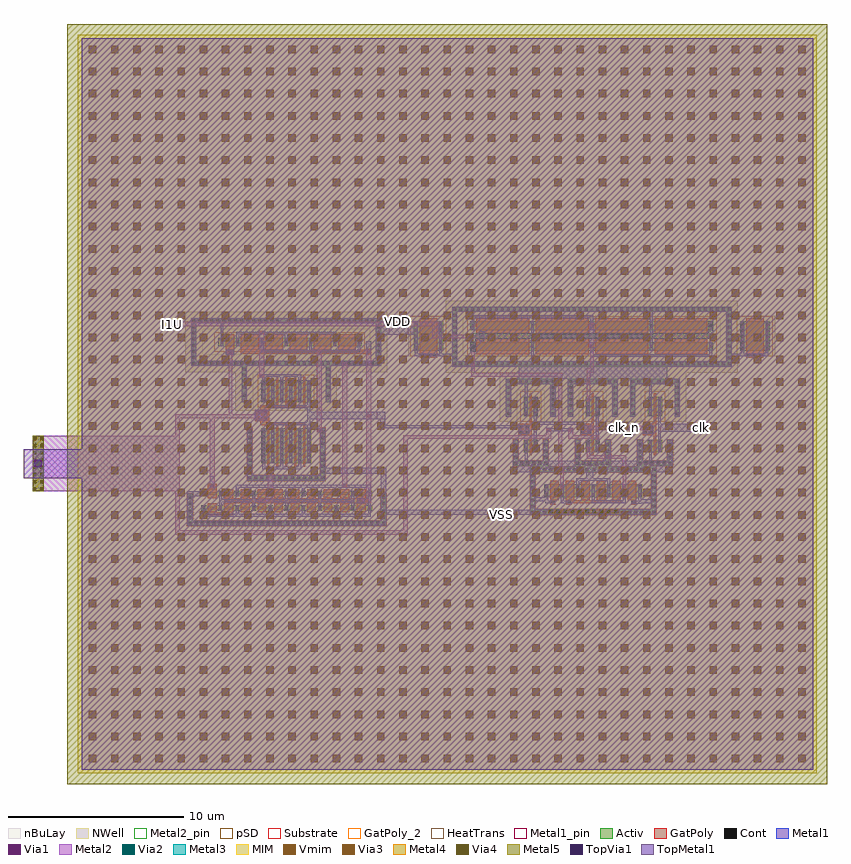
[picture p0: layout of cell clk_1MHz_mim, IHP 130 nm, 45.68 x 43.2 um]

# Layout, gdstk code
from math import pi, radians
import gdstk
lib = gdstk.Library(unit=1e-6, precision=1e-09)
def R(c, l, rs):  # rectangles x0, y0, x1, y1
    for r in rs: c.add(gdstk.rectangle(r[:2], r[2:], *l))
def A(c, l, x, y, w, h, nx, ny, dx, dy):  # array of equal rectangles
    R(c, l, [(x+i*dx, y+j*dy, x+i*dx+w, y+j*dy+h) for i in range(nx) for j in range(ny)])
def P(c, l, *ps):  # polygons
    for p in ps: c.add(gdstk.Polygon(p, *l))
Activ = (1, 0)
GatPoly = (5, 0)
GatPoly_2 = (5, 2)
Cont = (6, 0)
Metal1 = (8, 0)
Metal1_pin = (8, 2)
Metal2 = (10, 0)
Metal2_pin = (10, 2)
pSD = (14, 0)
Via1 = (19, 0)
Via2 = (29, 0)
Metal3 = (30, 0)
NWell = (31, 0)
nBuLay = (32, 0)
MIM = (36, 0)
Substrate = (40, 0)
Via3 = (49, 0)
Metal4 = (50, 0)
HeatTrans = (51, 0)
Via4 = (66, 0)
Metal5 = (67, 0)
TopVia1 = (125, 0)
TopMetal1 = (126, 0)
Vmim = (129, 0)

via_stack_12 = lib.new_cell('via_stack$12')
R(via_stack_12, Metal1, [(-0.145,-0.105,0.145,0.105)])
R(via_stack_12, Metal2, [(-0.145,-0.1,0.145,0.1)])
R(via_stack_12, Via1, [(-0.095,-0.095,0.095,0.095)])
R(via_stack_12, Via2, [(-0.095,-0.095,0.095,0.095)])
R(via_stack_12, Metal3, [(-0.145,-0.1,0.145,0.1)])

pmos_2 = lib.new_cell('pmos$2')
R(pmos_2, Activ, [(0,0,0.3,0.3), (0,0,1.68,1.68), (1.38,0,1.68,0.3)])
R(pmos_2, GatPoly, [(0.34,-0.18,1.34,1.86), (0.34,-0.18,1.34,1.86)])
A(pmos_2, Cont, 0.07, 0.07, 0.16, 0.16, 1, 5, 0, 0.345)
A(pmos_2, Cont, 1.45, 0.07, 0.16, 0.16, 1, 5, 0, 0.345)
R(pmos_2, Metal1, [(0.07,0,0.23,1.68), (0.07,0,0.23,1.68), (1.45,0,1.61,1.68), (1.45,0,1.61,1.68)])
R(pmos_2, pSD, [(-0.18,-0.3,1.86,1.98)])
R(pmos_2, NWell, [(-0.31,-0.31,1.99,1.99)])
R(pmos_2, Substrate, [(1.38,0,1.68,0.3)])
R(pmos_2, HeatTrans, [(0.34,-0.18,1.34,1.86)])
pmos_2.add(gdstk.Label('pmos', (0.84,0.84), layer=63, texttype=0))
pmos_2.add(gdstk.Label('pmos', (0.84,0.84), layer=51, texttype=0))

via_stack_6 = lib.new_cell('via_stack$6')
R(via_stack_6, GatPoly, [(-0.15,-0.49,0.15,0.49)])
A(via_stack_6, Cont, -0.08, -0.42, 0.16, 0.16, 1, 3, 0, 0.34)
R(via_stack_6, Metal1, [(-0.08,-0.47,0.08,0.47)])

via_stack_5 = lib.new_cell('via_stack$5')
R(via_stack_5, GatPoly, [(-0.15,-0.15,0.15,0.15)])
R(via_stack_5, Cont, [(-0.08,-0.08,0.08,0.08)])
R(via_stack_5, Metal1, [(-0.145,-0.105,0.145,0.105)])
R(via_stack_5, Metal2, [(-0.145,-0.1,0.145,0.1)])
R(via_stack_5, Via1, [(-0.095,-0.095,0.095,0.095)])

guard_ring = lib.new_cell('guard_ring')
R(guard_ring, Activ, [(-7.95,-1.4,-7.65,1.4), (7.65,-1.4,7.95,1.4), (-7.95,1.4,7.95,1.7)])
P(guard_ring, Activ, [(-7.95,-1.7),(-7.95,1.4),(-7.65,1.4),(-7.65,-1.4),(7.65,-1.4),(7.65,1.4),(-7.95,1.4),(-7.95,1.7),(7.95,1.7),(7.95,-1.7)])
A(guard_ring, Cont, -7.88, -1.63, 0.16, 0.16, 23, 2, 0.34, 3.1)
A(guard_ring, Cont, 0.24, -1.63, 0.16, 0.16, 23, 2, 0.34, 3.1)
A(guard_ring, Cont, -7.88, -1.29, 0.16, 0.16, 1, 4, 0, 0.34)
A(guard_ring, Cont, 7.72, -1.29, 0.16, 0.16, 1, 4, 0, 0.34)
A(guard_ring, Cont, -7.88, 0.11, 0.16, 0.16, 1, 4, 0, 0.34)
A(guard_ring, Cont, 7.72, 0.11, 0.16, 0.16, 1, 4, 0, 0.34)
R(guard_ring, Metal1, [(-7.95,-1.7,7.95,-1.4), (-7.95,-1.4,-7.65,1.4), (7.65,-1.4,7.95,1.4), (-7.95,1.4,7.95,1.7)])
R(guard_ring, NWell, [(-8.3,-2.05,8.3,2.05)])
R(guard_ring, nBuLay, [(-8.3,-1.05,-7.3,1.05), (7.3,-1.05,8.3,1.05), (-8.3,1.05,8.3,2.05)])
P(guard_ring, nBuLay, [(-8.3,-2.05),(-8.3,1.05),(-7.3,1.05),(-7.3,-1.05),(7.3,-1.05),(7.3,1.05),(-8.3,1.05),(-8.3,2.05),(8.3,2.05),(8.3,-2.05)])
guard_ring.add(gdstk.Label('well', (0,-1.55), layer=63, texttype=0))

pmos_3 = lib.new_cell('pmos$3')
A(pmos_3, Activ, 0, 0, 0.3, 0.3, 5, 1, 3.38, 0)
R(pmos_3, Activ, [(0,0,13.82,0.5)])
A(pmos_3, GatPoly, 0.34, -0.18, 3, 0.86, 4, 1, 3.38, 0)
R(pmos_3, GatPoly, [(0.34,-0.18,3.34,0.68)])
A(pmos_3, Cont, 0.07, 0.17, 0.16, 0.16, 5, 1, 3.38, 0)
A(pmos_3, Metal1, 3.45, 0, 0.16, 0.5, 4, 1, 3.38, 0)
R(pmos_3, Metal1, [(0.07,0,0.23,0.5), (0.07,0,0.23,0.5), (3.45,0,3.61,0.5)])
R(pmos_3, pSD, [(-0.18,-0.3,14,0.8)])
R(pmos_3, NWell, [(-0.31,-0.31,14.13,0.81)])
R(pmos_3, Substrate, [(13.52,0,13.82,0.3)])
A(pmos_3, HeatTrans, 0.34, -0.18, 3, 0.86, 4, 1, 3.38, 0)
pmos_3.add(gdstk.Label('pmos', (1.84,0.25), layer=63, texttype=0))
pmos_3.add(gdstk.Label('pmos', (1.84,0.25), layer=51, texttype=0))
pmos_3.add(gdstk.Label('pmos', (5.22,0.25), layer=51, texttype=0))
pmos_3.add(gdstk.Label('pmos', (8.6,0.25), layer=51, texttype=0))
pmos_3.add(gdstk.Label('pmos', (11.98,0.25), layer=51, texttype=0))

via_stack_4 = lib.new_cell('via_stack$4')
R(via_stack_4, Metal1, [(-0.145,-0.105,0.145,0.105)])
R(via_stack_4, Metal2, [(-0.145,-0.1,0.145,0.1)])
R(via_stack_4, Via1, [(-0.095,-0.095,0.095,0.095)])

ring_mirror_p_1_1 = lib.new_cell('ring_mirror_p$1$1')
R(ring_mirror_p_1_1, GatPoly, [(-7.805,-0.62,5.335,-0.3)])
R(ring_mirror_p_1_1, Metal1, [(-4.695,-1.985,-4.535,-1.3), (-1.315,-1.64,5.605,-1.48), (-11.3,-1.61,-8.955,-1.445), (6.455,-1.61,8.8,-1.445), (-11.3,-1.575,-11.14,-1.3), (-9.92,-1.575,-9.76,-1.3), (7.26,-1.575,7.42,-1.3), (8.64,-1.575,8.8,-1.3), (-1.315,-1.48,-1.155,-0.875), (5.445,-1.48,5.605,-0.875), (-8.135,-1.345,-7.85,-0.79), (-4.695,-0.8,-4.535,-0.12), (2.065,-0.8,2.225,-0.12), (-7.63,-0.74,-7.345,-0.185), (-4.695,-0.565,2.225,-0.355), (5.39,-0.125,5.675,0.43), (-8.075,-0.045,-7.915,0.56), (-1.315,-0.045,-1.155,0.56), (2.065,0.38,2.225,0.965), (-8.075,0.56,-1.155,0.72)])
R(ring_mirror_p_1_1, Metal1_pin, [(-3.955,0.915,-2.815,1.215)])
R(ring_mirror_p_1_1, Metal2, [(-8.09,-2.535,-7.89,-0.95), (-1.34,-2.535,-1.14,-0.93), (-1.38,-1.105,-1.09,0.305), (5.39,-0.585,5.675,0.43), (-10.315,-0.565,-7.345,-0.365)])
R(ring_mirror_p_1_1, Metal2_pin, [(-8.075,-2.525,-7.9,-2.18), (-1.305,-2.505,-1.145,-2.16), (-10.315,-0.565,-10.08,-0.365)])
R(ring_mirror_p_1_1, pSD, [(-8.325,-0.5,5.855,-0.42)])
R(ring_mirror_p_1_1, Metal3, [(-8.115,-1.345,-7.85,-0.305), (-8.115,-0.62,5.675,-0.305), (5.39,-0.62,5.675,0.43)])
ring_mirror_p_1_1.add(gdstk.Reference(via_stack_12, (5.53,0.15)))
ring_mirror_p_1_1.add(gdstk.Reference(via_stack_12, (-7.995,-1.07)))
ring_mirror_p_1_1.add(gdstk.Reference(pmos_2, (7.19,-1.3)))
ring_mirror_p_1_1.add(gdstk.Reference(via_stack_6, (8.02,-1.525), rotation=pi/2))
ring_mirror_p_1_1.add(gdstk.Reference(via_stack_5, (-7.49,-0.465)))
ring_mirror_p_1_1.add(gdstk.Reference(pmos_2, (-9.69,-1.3), rotation=pi, x_reflection=True))
ring_mirror_p_1_1.add(gdstk.Reference(via_stack_6, (-10.52,-1.525), rotation=pi/2, x_reflection=True))
ring_mirror_p_1_1.add(gdstk.Reference(guard_ring, (-1.235,-0.485)))
ring_mirror_p_1_1.add(gdstk.Reference(pmos_3, (5.675,-0.8), rotation=pi))
ring_mirror_p_1_1.add(gdstk.Reference(pmos_3, (5.675,0.38), rotation=pi))
ring_mirror_p_1_1.add(gdstk.Reference(via_stack_4, (-1.235,0.205)))
ring_mirror_p_1_1.add(gdstk.Reference(via_stack_4, (-1.235,-1.005)))
ring_mirror_p_1_1.add(gdstk.Label('VDD', (-3.385,1.215), layer=8, texttype=2))
ring_mirror_p_1_1.add(gdstk.Label('i1u', (-10.21,-0.48), layer=10, texttype=2))
ring_mirror_p_1_1.add(gdstk.Label('DRR', (-8.055,-2.405), layer=10, texttype=2))
ring_mirror_p_1_1.add(gdstk.Label('DRM', (-1.265,-2.36), layer=10, texttype=2))

via_stack_1 = lib.new_cell('via_stack$1')
R(via_stack_1, GatPoly, [(-0.32,-0.32,0.32,0.32)])
R(via_stack_1, Cont, [(-0.25,-0.25,-0.09,-0.09), (0.09,-0.25,0.25,-0.09), (-0.25,0.09,-0.09,0.25), (0.09,0.09,0.25,0.25)])
R(via_stack_1, Metal1, [(-0.3,-0.25,0.3,0.25)])

ring_inv_1_1 = lib.new_cell('ring_inv$1$1')
R(ring_inv_1_1, Activ, [(-0.45,-2.005,-0.15,-1.705), (-0.45,-2.005,0.36,-1.305), (0.06,-2.005,0.36,-1.705), (-1.46,0,-1.16,1.86), (1.07,0,1.37,1.86), (-0.45,0.03,-0.15,0.33), (-0.45,0.03,0.36,1.15), (0.06,0.03,0.36,0.33), (-1.46,1.86,1.37,2.16)])
P(ring_inv_1_1, Activ, [(-1.05,-2.785),(-1.05,-1.305),(-0.75,-1.305),(-0.75,-2.485),(0.66,-2.485),(0.66,-1.305),(0.96,-1.305),(0.96,-2.785)])
R(ring_inv_1_1, GatPoly, [(-0.11,-2.185,0.02,-1.125), (-0.11,-1.125,0.02,-0.15), (-0.11,-0.15,0.02,1.33), (-0.11,-0.15,0.02,1.33)])
R(ring_inv_1_1, GatPoly_2, [(-0.11,-2.185,0.02,-1.125)])
A(ring_inv_1_1, Cont, -0.98, -2.715, 0.16, 0.16, 3, 1, 0.34, 0)
A(ring_inv_1_1, Cont, 0.05, -2.715, 0.16, 0.16, 3, 1, 0.34, 0)
A(ring_inv_1_1, Cont, -0.38, 0.1, 0.16, 0.16, 1, 3, 0, 0.41)
A(ring_inv_1_1, Cont, 0.13, 0.1, 0.16, 0.16, 1, 3, 0, 0.41)
A(ring_inv_1_1, Cont, -1.39, 0.57, 0.16, 0.16, 1, 4, 0, 0.34)
A(ring_inv_1_1, Cont, 1.14, 0.57, 0.16, 0.16, 1, 4, 0, 0.34)
A(ring_inv_1_1, Cont, -1.39, 1.93, 0.16, 0.16, 4, 1, 0.34, 0)
A(ring_inv_1_1, Cont, 0.12, 1.93, 0.16, 0.16, 4, 1, 0.34, 0)
R(ring_inv_1_1, Cont, [(-0.98,-2.375,-0.82,-2.215), (0.73,-2.375,0.89,-2.215), (-0.98,-2.035,-0.82,-1.875), (0.73,-2.035,0.89,-1.875), (-0.38,-1.935,-0.22,-1.775), (0.13,-1.935,0.29,-1.775), (0.73,-1.675,0.89,-1.515), (-0.98,-1.67,-0.82,-1.51), (-0.38,-1.535,-0.22,-1.375), (0.13,-1.535,0.29,-1.375), (-1.39,0.11,-1.23,0.27), (1.14,0.11,1.3,0.27)])
R(ring_inv_1_1, Metal1, [(-1.05,-2.785,0.96,-2.485), (-1.05,-2.485,-0.75,-1.305), (0.66,-2.485,0.96,-1.305), (-0.38,-2.005,-0.22,-1.305), (0.13,-2.005,0.29,-1.305), (0.13,-1.305,0.29,0.03), (-1.46,0,-1.16,1.86), (1.07,0,1.37,1.86), (-0.38,0.03,-0.22,1.15), (-0.38,0.03,-0.22,1.15), (0.13,0.03,0.29,1.15), (0.13,0.03,0.29,1.15), (-1.46,1.86,1.37,2.16)])
R(ring_inv_1_1, Metal1_pin, [(-0.38,-2.785,0.23,-2.485), (-0.38,-2.005,-0.22,-1.305), (0.13,-2.005,0.29,-1.305), (0.13,-0.84,0.29,-0.565), (-0.73,-0.815,-0.52,-0.625), (-0.505,1.86,0.29,2.16)])
R(ring_inv_1_1, pSD, [(-0.63,-0.27,0.54,1.45)])
P(ring_inv_1_1, pSD, [(-1.08,-2.815),(-1.08,-1.275),(-0.72,-1.275),(-0.72,-2.455),(0.63,-2.455),(0.63,-1.275),(0.99,-1.275),(0.99,-2.815)])
R(ring_inv_1_1, NWell, [(-1.81,-0.28,1.72,2.51), (-0.76,-0.28,0.67,1.46)])
R(ring_inv_1_1, nBuLay, [(-1.81,-0.28,-0.81,1.51), (0.72,-0.28,1.72,1.51), (-1.81,1.51,1.72,2.51)])
R(ring_inv_1_1, Substrate, [(-1.08,-2.815,0.99,-2.455), (-1.08,-2.455,-0.72,-1.305), (0.63,-2.455,0.99,-1.305), (0.06,0.03,0.36,0.33)])
R(ring_inv_1_1, HeatTrans, [(-0.11,-2.185,0.02,-1.125), (-0.11,-0.15,0.02,1.33)])
ring_inv_1_1.add(gdstk.Reference(via_stack_1, (-0.43,-0.725)))
ring_inv_1_1.add(gdstk.Label('pmos', (-0.045,0.59), layer=63, texttype=0))
ring_inv_1_1.add(gdstk.Label('nmos', (-0.045,-1.655), layer=63, texttype=0))
ring_inv_1_1.add(gdstk.Label('sub!', (-0.045,-2.635), layer=63, texttype=0))
ring_inv_1_1.add(gdstk.Label('pmos', (-0.045,0.59), layer=51, texttype=0))
ring_inv_1_1.add(gdstk.Label('nmos', (-0.045,-1.655), layer=51, texttype=0))
ring_inv_1_1.add(gdstk.Label('VDD', (-0.108,2.16), layer=8, texttype=2))
ring_inv_1_1.add(gdstk.Label('VSS', (-0.075,-2.785), layer=8, texttype=2))
ring_inv_1_1.add(gdstk.Label('Y', (0.29,-0.703), layer=8, texttype=2))
ring_inv_1_1.add(gdstk.Label('A', (-0.73,-0.705), layer=8, texttype=2))

nmos_5 = lib.new_cell('nmos$5')
A(nmos_5, Activ, 0, 0, 0.3, 0.3, 7, 1, 0.88, 0)
R(nmos_5, Activ, [(-0.8,-0.68,-0.5,1.43), (6.08,-0.68,6.38,1.43), (0,0,5.58,0.75), (-0.8,1.43,6.38,1.73)])
P(nmos_5, Activ, [(-0.8,-0.98),(-0.8,1.43),(-0.5,1.43),(-0.5,-0.68),(6.08,-0.68),(6.08,1.43),(-0.8,1.43),(-0.8,1.73),(6.38,1.73),(6.38,-0.98)])
A(nmos_5, GatPoly, 0.34, -0.18, 0.5, 1.11, 6, 1, 0.88, 0)
R(nmos_5, GatPoly_2, [(0.34,-0.18,0.84,0.93)])
A(nmos_5, Cont, -0.73, -0.91, 0.16, 0.16, 10, 2, 0.34, 2.41)
A(nmos_5, Cont, 2.75, -0.91, 0.16, 0.16, 11, 2, 0.34, 2.41)
A(nmos_5, Cont, -0.73, -0.57, 0.16, 0.16, 1, 3, 0, 0.34)
A(nmos_5, Cont, 6.15, -0.57, 0.16, 0.16, 1, 3, 0, 0.34)
A(nmos_5, Cont, 0.07, 0.07, 0.16, 0.16, 7, 2, 0.88, 0.45)
A(nmos_5, Cont, -0.73, 0.48, 0.16, 0.16, 1, 3, 0, 0.34)
A(nmos_5, Cont, 6.15, 0.48, 0.16, 0.16, 1, 3, 0, 0.34)
A(nmos_5, Metal1, 0.07, 0, 0.16, 0.75, 7, 1, 0.88, 0)
R(nmos_5, Metal1, [(-0.8,-0.98,6.38,-0.68), (-0.8,-0.68,-0.5,1.43), (6.08,-0.68,6.38,1.43), (-0.8,1.43,6.38,1.73)])
R(nmos_5, Metal1_pin, [(0.07,0,0.23,0.75), (0.95,0,1.11,0.75)])
R(nmos_5, pSD, [(-0.83,-0.65,-0.47,1.4), (6.05,-0.65,6.41,1.4), (-0.83,1.4,6.41,1.76)])
P(nmos_5, pSD, [(-0.83,-1.01),(-0.83,1.4),(-0.47,1.4),(-0.47,-0.65),(6.05,-0.65),(6.05,1.4),(-0.83,1.4),(-0.83,1.76),(6.41,1.76),(6.41,-1.01)])
R(nmos_5, Substrate, [(-0.83,-0.65,-0.47,1.4), (6.05,-0.65,6.41,1.4), (-0.83,1.4,6.41,1.76)])
P(nmos_5, Substrate, [(-0.83,-1.01),(-0.83,1.4),(-0.47,1.4),(-0.47,-0.65),(6.05,-0.65),(6.05,1.4),(-0.83,1.4),(-0.83,1.76),(6.41,1.76),(6.41,-1.01)])
A(nmos_5, HeatTrans, 0.34, -0.18, 0.5, 1.11, 6, 1, 0.88, 0)
nmos_5.add(gdstk.Label('nmos', (0.59,0.375), layer=63, texttype=0))
nmos_5.add(gdstk.Label('sub!', (2.79,-0.83), layer=63, texttype=0))
nmos_5.add(gdstk.Label('nmos', (0.59,0.375), layer=51, texttype=0))
nmos_5.add(gdstk.Label('nmos', (1.47,0.375), layer=51, texttype=0))
nmos_5.add(gdstk.Label('nmos', (2.35,0.375), layer=51, texttype=0))
nmos_5.add(gdstk.Label('nmos', (3.23,0.375), layer=51, texttype=0))
nmos_5.add(gdstk.Label('nmos', (4.11,0.375), layer=51, texttype=0))
nmos_5.add(gdstk.Label('nmos', (4.99,0.375), layer=51, texttype=0))

via_stack_9 = lib.new_cell('via_stack$9')
R(via_stack_9, GatPoly, [(-0.15,-0.15,0.15,0.15)])
R(via_stack_9, Cont, [(-0.08,-0.08,0.08,0.08)])
R(via_stack_9, Metal1, [(-0.13,-0.08,0.13,0.08)])

ring_mirror_n2_1_1 = lib.new_cell('ring_mirror_n2$1$1')
R(ring_mirror_n2_1_1, GatPoly, [(-1.565,-4.565,1.575,-4.405)])
R(ring_mirror_n2_1_1, Metal1, [(2.205,-4.585,2.725,-4.425), (2.565,-4.585,2.725,-4.085), (-2.715,-4.575,-2.195,-4.415), (-2.715,-4.575,-2.555,-4.075), (-1.835,-4.575,-1.675,-4.225), (-1.835,-4.575,-1.505,-4.415), (-0.075,-4.565,1.845,-4.405), (-0.075,-4.565,0.085,-4.225), (1.685,-4.565,1.845,-4.225), (2.565,-4.56,3.595,-4.335), (-3.515,-4.455,-2.555,-4.225), (-0.955,-3.475,-0.795,-3.135), (0.805,-3.475,0.965,-3.135), (-0.955,-3.295,0.965,-3.135), (-0.4,-3.135,0.005,-2.495)])
R(ring_mirror_n2_1_1, Metal2, [(1.67,-3.485,1.87,-2.465), (-1.86,-3.475,-1.66,-2.465)])
ring_mirror_n2_1_1.add(gdstk.Reference(nmos_5, (-2.785,-4.225)))
ring_mirror_n2_1_1.add(gdstk.Reference(via_stack_9, (-1.375,-4.495)))
ring_mirror_n2_1_1.add(gdstk.Reference(via_stack_9, (-2.295,-4.495)))
ring_mirror_n2_1_1.add(gdstk.Reference(via_stack_9, (2.305,-4.505), rotation=pi, x_reflection=True))
ring_mirror_n2_1_1.add(gdstk.Reference(via_stack_4, (-1.76,-3.62), rotation=pi/2))
ring_mirror_n2_1_1.add(gdstk.Reference(via_stack_4, (1.77,-3.63), rotation=pi/2))

ring_mrr_inv_1_1 = lib.new_cell('ring_mrr_inv$1$1')
R(ring_mrr_inv_1_1, Activ, [(-0.875,-2.545,1.135,-2.48), (-3.435,-2.54,-2.395,-2.48), (2.655,-2.54,3.745,-2.48)])
R(ring_mrr_inv_1_1, Metal1, [(-4.435,-2.845,4.665,-2.185), (-4.09,2.46,4.35,3.465)])
R(ring_mrr_inv_1_1, Metal2, [(1.815,-2.985,2.02,-2.085), (-1.835,-2.84,-1.62,2.815), (-0.225,-2.085,-0.025,-1.69), (-0.025,-2.085,2.02,-1.88), (-0.225,1.16,-0.025,3.07), (-6.78,2.595,-1.62,2.815)])
ring_mrr_inv_1_1.add(gdstk.Reference(ring_mirror_p_1_1, (1.31,5.35)))
ring_mrr_inv_1_1.add(gdstk.Reference(ring_inv_1_1, (0.175,0.305)))
ring_mrr_inv_1_1.add(gdstk.Reference(ring_inv_1_1, (-3.355,0.305)))
ring_mrr_inv_1_1.add(gdstk.Reference(ring_inv_1_1, (3.705,0.305)))
ring_mrr_inv_1_1.add(gdstk.Reference(via_stack_4, (-0.125,1.305), rotation=pi/2))
ring_mrr_inv_1_1.add(gdstk.Reference(via_stack_4, (-0.125,-1.545), rotation=pi/2))
ring_mrr_inv_1_1.add(gdstk.Reference(ring_mirror_n2_1_1, (0.15,-0.045)))

via_stack = lib.new_cell('via_stack')
R(via_stack, GatPoly, [(-0.32,-0.32,0.32,0.32)])
R(via_stack, Cont, [(-0.25,-0.25,-0.09,-0.09), (0.09,-0.25,0.25,-0.09), (-0.25,0.09,-0.09,0.25), (0.09,0.09,0.25,0.25)])
R(via_stack, Metal1, [(-0.35,-0.31,0.35,0.31)])
R(via_stack, Metal2, [(-0.35,-0.305,0.35,0.305)])
R(via_stack, Via1, [(-0.3,-0.3,-0.11,-0.11), (0.11,-0.3,0.3,-0.11), (-0.3,0.11,-0.11,0.3), (0.11,0.11,0.3,0.3)])

nmos_3 = lib.new_cell('nmos$3')
A(nmos_3, Activ, 0, 0, 0.3, 0.3, 11, 1, 0.94, 0)
R(nmos_3, Activ, [(0,0.07,9.7,0.225)])
A(nmos_3, GatPoly, 0.37, -0.11, 0.5, 0.515, 10, 1, 0.94, 0)
R(nmos_3, GatPoly_2, [(0.37,-0.11,0.87,0.405)])
A(nmos_3, Metal1, 0.07, 0.015, 0.16, 0.26, 11, 1, 0.94, 0)
R(nmos_3, Metal1_pin, [(0.07,0.015,0.23,0.275), (1.01,0.015,1.17,0.275)])
A(nmos_3, HeatTrans, 0.37, -0.11, 0.5, 0.515, 10, 1, 0.94, 0)
nmos_3.add(gdstk.Label('nmos', (0.62,0.148), layer=63, texttype=0))
nmos_3.add(gdstk.Label('nmos', (0.62,0.148), layer=51, texttype=0))
nmos_3.add(gdstk.Label('nmos', (1.56,0.148), layer=51, texttype=0))
nmos_3.add(gdstk.Label('nmos', (2.5,0.148), layer=51, texttype=0))
nmos_3.add(gdstk.Label('nmos', (3.44,0.148), layer=51, texttype=0))
nmos_3.add(gdstk.Label('nmos', (4.38,0.148), layer=51, texttype=0))
nmos_3.add(gdstk.Label('nmos', (5.32,0.148), layer=51, texttype=0))
nmos_3.add(gdstk.Label('nmos', (6.26,0.148), layer=51, texttype=0))
nmos_3.add(gdstk.Label('nmos', (7.2,0.148), layer=51, texttype=0))
nmos_3.add(gdstk.Label('nmos', (8.14,0.148), layer=51, texttype=0))
nmos_3.add(gdstk.Label('nmos', (9.08,0.148), layer=51, texttype=0))

ring_schmitt_1_1 = lib.new_cell('ring_schmitt$1$1')
A(ring_schmitt_1_1, Activ, -3.855, -3.525, 0.3, 0.3, 11, 1, 0.94, 0)
A(ring_schmitt_1_1, Activ, -0.46, -0.85, 0.3, 0.3, 6, 2, 0.51, 3.485)
A(ring_schmitt_1_1, Activ, -1.945, 5.805, 0.3, 0.3, 6, 1, 1.38, 0)
R(ring_schmitt_1_1, Activ, [(-4.655,-4.395,6.645,-4.095), (-4.655,-4.095,-4.355,-2.58), (6.345,-4.095,6.645,-2.58), (-3.855,-3.455,5.845,-3.3), (-1.26,-1.83,3.19,-1.53), (-1.26,-1.53,-0.96,1.15), (2.89,-1.53,3.19,1.15), (-0.46,-0.85,2.39,1.15), (-1.57,2.635,-1.27,4.695), (-0.46,2.635,2.39,3.885), (3.2,2.635,3.5,4.695), (-1.57,4.695,3.5,4.995), (-4.435,4.995,-4.135,7.115), (6.065,4.995,6.365,7.115), (-2.885,5.805,5.255,6.305), (-2.83,5.805,-2.53,6.105), (-4.435,7.115,6.365,7.415)])
P(ring_schmitt_1_1, Activ, [(-4.435,4.695),(-4.435,7.115),(-4.135,7.115),(-4.135,4.995),(6.065,4.995),(6.065,7.115),(-4.435,7.115),(-4.435,7.415),(6.365,7.415),(6.365,4.695)])
A(ring_schmitt_1_1, GatPoly, -3.485, -3.635, 0.5, 0.515, 10, 1, 0.94, 0)
A(ring_schmitt_1_1, GatPoly, -0.12, -1.03, 0.13, 2.36, 5, 1, 0.51, 0)
A(ring_schmitt_1_1, GatPoly, -0.12, 2.455, 0.13, 1.61, 5, 1, 0.51, 0)
A(ring_schmitt_1_1, GatPoly, -1.605, 5.625, 1, 0.86, 5, 1, 1.38, 0)
R(ring_schmitt_1_1, GatPoly, [(-3.485,-3.785,-2.045,-3.635), (-2.545,-3.12,5.615,-2.82), (-3.485,-2.305,-2.985,-2.005), (-0.505,1.33,2.05,1.46), (-0.505,1.33,0.01,2.455), (-0.505,2.325,2.05,2.455), (1.92,2.455,2.05,4.065), (-2.485,5.325,-1.985,5.625), (-1.605,5.4,5.8,5.625), (-2.485,5.625,-1.985,6.485), (-2.485,5.625,-1.985,6.485)])
R(ring_schmitt_1_1, GatPoly_2, [(-3.485,-3.635,-2.985,-3.12), (1.92,-1.03,2.05,1.33)])
A(ring_schmitt_1_1, Cont, -4.585, -4.325, 0.16, 0.16, 16, 1, 0.34, 0)
A(ring_schmitt_1_1, Cont, 0.975, -4.325, 0.16, 0.16, 17, 1, 0.34, 0)
A(ring_schmitt_1_1, Cont, -3.785, -3.455, 0.16, 0.16, 11, 2, 0.94, 0.815)
A(ring_schmitt_1_1, Cont, -1.19, -1.76, 0.16, 0.16, 7, 1, 0.34, 0)
A(ring_schmitt_1_1, Cont, 1.26, -1.76, 0.16, 0.16, 6, 1, 0.34, 0)
A(ring_schmitt_1_1, Cont, -1.19, -1.42, 0.16, 0.16, 1, 4, 0, 0.34)
A(ring_schmitt_1_1, Cont, 2.96, -1.42, 0.16, 0.16, 1, 4, 0, 0.34)
A(ring_schmitt_1_1, Cont, -0.39, -0.78, 0.16, 0.16, 6, 6, 0.51, 0.34)
A(ring_schmitt_1_1, Cont, -1.19, 0.2, 0.16, 0.16, 1, 3, 0, 0.34)
A(ring_schmitt_1_1, Cont, 2.96, 0.2, 0.16, 0.16, 1, 3, 0, 0.34)
A(ring_schmitt_1_1, Cont, -0.39, 2.705, 0.16, 0.16, 6, 3, 0.51, 0.475)
A(ring_schmitt_1_1, Cont, -1.5, 3.405, 0.16, 0.16, 1, 4, 0, 0.34)
A(ring_schmitt_1_1, Cont, 3.27, 3.405, 0.16, 0.16, 1, 4, 0, 0.34)
A(ring_schmitt_1_1, Cont, -4.365, 4.765, 0.16, 0.16, 15, 2, 0.34, 2.42)
A(ring_schmitt_1_1, Cont, 1.23, 4.765, 0.16, 0.16, 7, 1, 0.34, 0)
A(ring_schmitt_1_1, Cont, 3.755, 4.765, 0.16, 0.16, 8, 1, 0.34, 0)
A(ring_schmitt_1_1, Cont, -4.365, 5.105, 0.16, 0.16, 1, 3, 0, 0.34)
A(ring_schmitt_1_1, Cont, 6.135, 5.105, 0.16, 0.16, 1, 3, 0, 0.34)
A(ring_schmitt_1_1, Cont, -1.875, 5.975, 0.16, 0.16, 6, 1, 1.38, 0)
A(ring_schmitt_1_1, Cont, -4.365, 6.165, 0.16, 0.16, 1, 3, 0, 0.34)
A(ring_schmitt_1_1, Cont, 6.135, 6.165, 0.16, 0.16, 1, 3, 0, 0.34)
A(ring_schmitt_1_1, Cont, 1.035, 7.185, 0.16, 0.16, 16, 1, 0.34, 0)
R(ring_schmitt_1_1, Cont, [(-4.585,-3.985,-4.425,-3.825), (6.415,-3.985,6.575,-3.825), (-4.585,-3.645,-4.425,-3.485), (6.415,-3.645,6.575,-3.485), (-4.585,-3.19,-4.425,-3.03), (6.415,-3.19,6.575,-3.03), (-4.585,-2.85,-4.425,-2.69), (6.415,-2.85,6.575,-2.69), (-1.5,2.955,-1.34,3.115), (3.27,2.955,3.43,3.115), (0.88,4.765,1.04,4.925), (-2.76,5.975,-2.6,6.135)])
A(ring_schmitt_1_1, Metal1, -3.785, -3.795, 0.16, 0.285, 6, 1, 1.88, 0)
A(ring_schmitt_1_1, Metal1, -2.845, -3.515, 0.16, 1.105, 5, 1, 1.88, 0)
A(ring_schmitt_1_1, Metal1, -3.785, -3.51, 0.16, 0.27, 5, 1, 1.88, 0)
A(ring_schmitt_1_1, Metal1, -2.845, -3.51, 0.16, 0.26, 5, 1, 1.88, 0)
A(ring_schmitt_1_1, Metal1, -0.025, -2.71, 0.16, 0.555, 3, 1, 1.88, 0)
A(ring_schmitt_1_1, Metal1, -0.39, -0.85, 0.16, 2, 6, 1, 0.51, 0)
A(ring_schmitt_1_1, Metal1, -0.39, 2.635, 0.16, 1.25, 5, 1, 0.51, 0)
A(ring_schmitt_1_1, Metal1, -0.495, 5.465, 0.16, 0.34, 3, 1, 2.76, 0)
A(ring_schmitt_1_1, Metal1, -1.875, 5.805, 0.16, 0.5, 6, 1, 1.38, 0)
A(ring_schmitt_1_1, Metal1, -1.875, 6.305, 0.16, 0.34, 3, 1, 2.76, 0)
R(ring_schmitt_1_1, Metal1, [(-4.655,-4.395,6.645,-4.095), (-4.655,-4.095,-4.355,-2.58), (6.345,-4.095,6.645,-2.58), (-3.785,-3.87,5.775,-3.71), (-1.905,-3.87,-1.745,-3.51), (5.615,-3.51,5.775,-3.25), (5.615,-3.29,5.775,-2.41), (5.015,-3.11,5.43,-2.82), (-2.845,-3.05,4.835,-2.89), (-4.655,-2.71,-3.59,-2.42), (-1.905,-2.71,-1.745,-2.08), (6.345,-2.58,6.645,-1.1), (5.615,-2.44,5.775,-2.155), (-3.375,-2.255,-3.085,-1.59), (-1.905,-2.23,5.775,-2.07), (-1.26,-1.83,3.19,-1.53), (-1.26,-1.53,-0.96,1.15), (2.89,-1.53,3.19,1.15), (2.89,-1.445,6.645,-1.1), (-0.39,-1.19,1.81,-1.03), (-0.39,-1.19,-0.23,-0.85), (1.65,-1.19,1.81,-0.85), (0.63,-1.03,0.79,-0.85), (0.12,1.15,0.28,1.49), (1.14,1.15,1.3,1.33), (2.16,1.15,2.32,1.49), (0.12,1.33,2.32,1.49), (2.16,1.49,2.32,2.295), (2.16,1.665,6.605,2.095), (0.12,2.295,2.32,2.455), (0.12,2.295,0.28,2.635), (2.16,2.295,2.32,2.635), (1.14,2.455,1.3,2.635), (-1.57,2.635,-1.27,4.695), (1.65,2.635,1.81,3.885), (2.16,2.635,2.32,3.885), (2.16,2.635,2.32,3.885), (3.2,2.635,3.5,4.695), (-0.39,3.885,-0.23,4.225), (0.63,3.885,0.79,4.065), (1.65,3.885,1.81,4.225), (-0.39,4.065,1.81,4.225), (-4.435,4.695,6.365,4.995), (-1.57,4.695,3.5,4.995), (-4.435,4.995,-4.135,7.115), (6.065,4.995,6.365,7.115), (-2.485,5.325,-1.985,5.625), (5.505,5.415,5.795,6.11), (-0.495,5.465,5.185,5.625), (-2.76,5.805,-2.6,6.305), (-2.76,5.805,-2.6,6.305), (-1.875,5.805,-1.715,6.305), (-2.76,6.305,-2.6,7.115), (-1.875,6.485,3.805,6.645), (-4.435,7.115,6.365,7.415)])
R(ring_schmitt_1_1, Metal1_pin, [(-0.31,-4.395,0.48,-4.095), (-3.785,-3.51,-3.625,-3.24), (-2.845,-3.51,-2.685,-3.25), (1.65,-0.85,1.81,1.15), (2.16,-0.85,2.32,1.15), (6.12,1.665,6.605,2.095), (-0.16,7.115,1.845,7.415)])
R(ring_schmitt_1_1, Metal2, [(5.505,-3.11,5.795,2.075), (5.075,-3.07,5.795,-2.865), (-0.555,-3.065,0.215,-2.865), (-0.075,-3.065,0.215,-1.045), (-3.375,-2.255,-3.085,1.94), (4.155,-2.215,4.445,4.91), (2.7,0.935,2.99,5.615), (5.505,1.665,5.795,5.615), (-4.38,1.72,-0.59,1.94), (-2.295,1.72,-2.09,5.575), (-0.565,4.025,-0.275,6.7)])
R(ring_schmitt_1_1, Metal2_pin, [(-4.38,1.72,-4.105,1.94)])
R(ring_schmitt_1_1, pSD, [(-4.685,-4.425,6.675,-4.065), (-4.685,-4.065,-4.325,-2.535), (6.315,-4.065,6.675,-2.545), (-0.64,2.335,2.57,4.185), (-3.115,5.505,5.435,6.605)])
P(ring_schmitt_1_1, pSD, [(-1.29,-1.86),(-1.29,1.205),(-0.93,1.205),(-0.93,-1.5),(2.86,-1.5),(2.86,1.205),(3.22,1.205),(3.22,-1.86)])
R(ring_schmitt_1_1, NWell, [(-1.92,2.16,3.85,5.345), (-0.77,2.325,2.7,4.195), (-4.785,4.345,6.715,7.765), (-3.635,5.495,5.565,6.615)])
R(ring_schmitt_1_1, nBuLay, [(-1.92,2.16,-0.92,4.345), (2.85,2.16,3.85,4.345), (-1.92,4.345,3.85,5.345), (-4.785,5.345,-3.785,6.765), (5.715,5.345,6.715,6.765), (-4.785,6.765,6.715,7.765)])
P(ring_schmitt_1_1, nBuLay, [(-4.785,4.345),(-4.785,6.765),(-3.785,6.765),(-3.785,5.345),(5.715,5.345),(5.715,6.765),(-4.785,6.765),(-4.785,7.765),(6.715,7.765),(6.715,4.345)])
R(ring_schmitt_1_1, Substrate, [(-4.685,-4.425,6.675,-4.065), (-4.685,-4.065,-4.325,-2.535), (6.315,-4.065,6.675,-2.545), (-0.46,2.635,-0.16,2.935), (4.955,5.805,5.255,6.105)])
P(ring_schmitt_1_1, Substrate, [(-1.29,-1.86),(-1.29,1.205),(-0.93,1.205),(-0.93,-1.5),(2.86,-1.5),(2.86,1.205),(3.22,1.205),(3.22,-1.86)])
A(ring_schmitt_1_1, HeatTrans, -3.485, -3.635, 0.5, 0.515, 10, 1, 0.94, 0)
A(ring_schmitt_1_1, HeatTrans, -0.12, -1.03, 0.13, 2.36, 5, 1, 0.51, 0)
A(ring_schmitt_1_1, HeatTrans, -0.12, 2.455, 0.13, 1.61, 5, 1, 0.51, 0)
A(ring_schmitt_1_1, HeatTrans, -1.605, 5.625, 1, 0.86, 5, 1, 1.38, 0)
R(ring_schmitt_1_1, HeatTrans, [(-2.485,5.625,-1.985,6.485)])
ring_schmitt_1_1.add(gdstk.Reference(via_stack_5, (-2.235,5.475), rotation=pi, x_reflection=True))
ring_schmitt_1_1.add(gdstk.Reference(via_stack, (-0.465,1.88), rotation=pi, x_reflection=True))
ring_schmitt_1_1.add(gdstk.Reference(via_stack_4, (-0.42,6.6)))
ring_schmitt_1_1.add(gdstk.Reference(via_stack_4, (-0.42,4.125)))
ring_schmitt_1_1.add(gdstk.Reference(via_stack_5, (5.65,5.515)))
ring_schmitt_1_1.add(gdstk.Reference(via_stack_4, (5.65,1.865)))
ring_schmitt_1_1.add(gdstk.Reference(nmos_3, (-3.855,-2.71)))
ring_schmitt_1_1.add(gdstk.Reference(via_stack_4, (-0.41,-2.965)))
ring_schmitt_1_1.add(gdstk.Reference(via_stack_4, (0.07,-1.145)))
ring_schmitt_1_1.add(gdstk.Reference(via_stack_5, (5.22,-2.965)))
ring_schmitt_1_1.add(gdstk.Reference(via_stack_5, (-3.23,-2.155), rotation=pi, x_reflection=True))
ring_schmitt_1_1.add(gdstk.Reference(via_stack_4, (2.845,1.035)))
ring_schmitt_1_1.add(gdstk.Reference(via_stack_4, (2.845,5.515)))
ring_schmitt_1_1.add(gdstk.Reference(via_stack_4, (4.3,-2.115)))
ring_schmitt_1_1.add(gdstk.Reference(via_stack_4, (4.3,4.81)))
ring_schmitt_1_1.add(gdstk.Label('pmos', (1.985,3.26), layer=63, texttype=0))
ring_schmitt_1_1.add(gdstk.Label('sub!', (0.965,-1.68), layer=63, texttype=0))
ring_schmitt_1_1.add(gdstk.Label('nmos', (1.985,0.15), layer=63, texttype=0))
ring_schmitt_1_1.add(gdstk.Label('sub!', (0.995,-4.245), layer=63, texttype=0))
ring_schmitt_1_1.add(gdstk.Label('nmos', (-3.235,-3.38), layer=63, texttype=0))
ring_schmitt_1_1.add(gdstk.Label('pmos', (1.985,3.26), layer=51, texttype=0))
ring_schmitt_1_1.add(gdstk.Label('pmos', (1.475,3.26), layer=51, texttype=0))
ring_schmitt_1_1.add(gdstk.Label('pmos', (0.965,3.26), layer=51, texttype=0))
ring_schmitt_1_1.add(gdstk.Label('pmos', (0.455,3.26), layer=51, texttype=0))
ring_schmitt_1_1.add(gdstk.Label('pmos', (-0.055,3.26), layer=51, texttype=0))
ring_schmitt_1_1.add(gdstk.Label('nmos', (-0.055,0.15), layer=51, texttype=0))
ring_schmitt_1_1.add(gdstk.Label('nmos', (0.455,0.15), layer=51, texttype=0))
ring_schmitt_1_1.add(gdstk.Label('nmos', (0.965,0.15), layer=51, texttype=0))
ring_schmitt_1_1.add(gdstk.Label('nmos', (1.475,0.15), layer=51, texttype=0))
ring_schmitt_1_1.add(gdstk.Label('nmos', (1.985,0.15), layer=51, texttype=0))
ring_schmitt_1_1.add(gdstk.Label('pmos', (-2.485,6.055), layer=51, texttype=0))
ring_schmitt_1_1.add(gdstk.Label('pmos', (-1.105,6.055), layer=51, texttype=0))
ring_schmitt_1_1.add(gdstk.Label('pmos', (0.275,6.055), layer=51, texttype=0))
ring_schmitt_1_1.add(gdstk.Label('pmos', (1.655,6.055), layer=51, texttype=0))
ring_schmitt_1_1.add(gdstk.Label('pmos', (3.035,6.055), layer=51, texttype=0))
ring_schmitt_1_1.add(gdstk.Label('pmos', (4.415,6.055), layer=51, texttype=0))
ring_schmitt_1_1.add(gdstk.Label('nmos', (5.225,-3.375), layer=51, texttype=0))
ring_schmitt_1_1.add(gdstk.Label('nmos', (4.285,-3.375), layer=51, texttype=0))
ring_schmitt_1_1.add(gdstk.Label('nmos', (3.345,-3.375), layer=51, texttype=0))
ring_schmitt_1_1.add(gdstk.Label('nmos', (2.405,-3.375), layer=51, texttype=0))
ring_schmitt_1_1.add(gdstk.Label('nmos', (1.465,-3.375), layer=51, texttype=0))
ring_schmitt_1_1.add(gdstk.Label('nmos', (0.525,-3.375), layer=51, texttype=0))
ring_schmitt_1_1.add(gdstk.Label('nmos', (-0.415,-3.375), layer=51, texttype=0))
ring_schmitt_1_1.add(gdstk.Label('nmos', (-1.355,-3.375), layer=51, texttype=0))
ring_schmitt_1_1.add(gdstk.Label('nmos', (-2.295,-3.375), layer=51, texttype=0))
ring_schmitt_1_1.add(gdstk.Label('nmos', (-3.235,-3.375), layer=51, texttype=0))
ring_schmitt_1_1.add(gdstk.Label('Y', (6.605,1.88), layer=8, texttype=2))
ring_schmitt_1_1.add(gdstk.Label('VDD', (0.74,7.415), layer=8, texttype=2))
ring_schmitt_1_1.add(gdstk.Label('VSS', (0.035,-4.395), layer=8, texttype=2))
ring_schmitt_1_1.add(gdstk.Label('A', (-4.38,1.83), layer=10, texttype=2))

cmim_1 = lib.new_cell('cmim$1')
R(cmim_1, MIM, [(0,0,42,42)])
R(cmim_1, Metal5, [(-0.6,-0.6,42.6,42.6)])
R(cmim_1, TopMetal1, [(0.21,0.21,41.79,41.79)])
A(cmim_1, Vmim, 0.63, 0.63, 0.42, 0.42, 33, 33, 1.26, 1.26)

via_stack_14 = lib.new_cell('via_stack$14')
R(via_stack_14, Metal1, [(-1.99,-0.105,1.99,0.105)])
R(via_stack_14, Metal2, [(-1.99,-0.1,1.99,0.1)])
A(via_stack_14, Via1, -1.94, -0.095, 0.19, 0.19, 10, 1, 0.41, 0)
A(via_stack_14, Via2, -1.94, -0.095, 0.19, 0.19, 10, 1, 0.41, 0)
R(via_stack_14, Metal3, [(-1.99,-0.1,1.99,0.1)])
A(via_stack_14, Via3, -1.94, -0.095, 0.19, 0.19, 10, 1, 0.41, 0)
R(via_stack_14, Metal4, [(-1.99,-0.1,1.99,0.1)])
A(via_stack_14, Via4, -1.94, -0.095, 0.19, 0.19, 10, 1, 0.41, 0)
R(via_stack_14, Metal5, [(-1.99,-0.1,1.99,0.1)])

via_stack_17 = lib.new_cell('via_stack$17')
R(via_stack_17, Metal2, [(-0.305,-1.58,0.305,1.58)])
A(via_stack_17, Via2, -0.3, -1.53, 0.19, 0.19, 1, 8, 0, 0.41)
A(via_stack_17, Via2, 0.11, -1.53, 0.19, 0.19, 1, 8, 0, 0.41)
R(via_stack_17, Metal3, [(-0.305,-1.58,0.305,1.58)])
A(via_stack_17, Via3, -0.3, -1.53, 0.19, 0.19, 1, 8, 0, 0.41)
A(via_stack_17, Via3, 0.11, -1.53, 0.19, 0.19, 1, 8, 0, 0.41)
R(via_stack_17, Metal4, [(-0.305,-1.58,0.305,1.58)])
A(via_stack_17, Via4, -0.3, -1.53, 0.19, 0.19, 1, 8, 0, 0.41)
A(via_stack_17, Via4, 0.11, -1.53, 0.19, 0.19, 1, 8, 0, 0.41)
R(via_stack_17, Metal5, [(-0.31,-1.58,0.31,1.58)])
R(via_stack_17, TopVia1, [(-0.21,-0.21,0.21,0.21)])
R(via_stack_17, TopMetal1, [(-0.82,-0.82,0.82,0.82)])

clk_1mhz_mim = lib.new_cell('clk_1MHz_mim')
R(clk_1mhz_mim, Metal1, [(20.33,15.3,30.35,15.6), (28.485,18.355,28.645,18.865), (35.545,18.355,35.705,18.865), (36.055,20.03,38.535,20.465), (29.745,20.05,31.18,20.225), (20.27,20.215,28.35,20.395), (20.27,20.395,20.56,20.775), (31.665,20.395,31.875,20.42), (28.995,20.42,31.875,20.58), (28.485,22.02,28.645,22.755), (35.545,22.02,35.705,22.745), (20.02,25.53,22.395,26.295)])
R(clk_1mhz_mim, Metal1_pin, [(26.345,15.3,28.155,15.6), (38.02,20.03,38.535,20.465), (20.74,25.53,21.86,26.295)])
R(clk_1mhz_mim, Metal2, [(8.605,14.17,21.815,14.42), (8.605,14.42,8.855,21.01), (21.565,14.42,21.815,19.815), (0.51,16.63,8.855,19.79), (21.565,19.615,29.985,19.815), (30.94,19.615,32.685,19.815), (29.695,19.815,29.985,20.035), (30.94,19.815,31.23,20.035), (32.04,20.115,35.4,20.365), (8.855,20.79,9.575,21.01), (23.215,25.35,23.59,26.27), (8.465,26.02,23.59,26.27)])
R(clk_1mhz_mim, Metal2_pin, [(8.465,26.02,8.875,26.27)])
R(clk_1mhz_mim, TopMetal1, [(0,17.39,4.235,19.03)])
clk_1mhz_mim.add(gdstk.Reference(ring_mrr_inv_1_1, (32.22,20.565)))
clk_1mhz_mim.add(gdstk.Reference(ring_schmitt_1_1, (13.955,19.07)))
clk_1mhz_mim.add(gdstk.Reference(via_stack_4, (32.61,19.72), rotation=3*pi/2))
clk_1mhz_mim.add(gdstk.Reference(via_stack_4, (29.84,20.135), rotation=pi))
clk_1mhz_mim.add(gdstk.Reference(via_stack_4, (31.085,20.135), rotation=pi))
clk_1mhz_mim.add(gdstk.Reference(via_stack_4, (32.14,20.235), rotation=3*pi/2))
clk_1mhz_mim.add(gdstk.Reference(via_stack_4, (35.325,20.235), rotation=3*pi/2))
clk_1mhz_mim.add(gdstk.Reference(cmim_1, (3.075,0.6)))
clk_1mhz_mim.add(gdstk.Reference(via_stack_14, (31.81,15.48)))
clk_1mhz_mim.add(gdstk.Reference(via_stack_17, (0.82,18.21)))
clk_1mhz_mim.add(gdstk.Label('clk_n', (34.13,20.27), layer=10, texttype=0))
clk_1mhz_mim.add(gdstk.Label('VDD', (21.25,26.295), layer=8, texttype=2))
clk_1mhz_mim.add(gdstk.Label('VSS', (27.175,15.3), layer=8, texttype=2))
clk_1mhz_mim.add(gdstk.Label('clk', (38.535,20.28), layer=8, texttype=2))
clk_1mhz_mim.add(gdstk.Label('I1U', (8.465,26.145), layer=10, texttype=2))

lib.write_gds('clk_1MHz_mim.gds')
